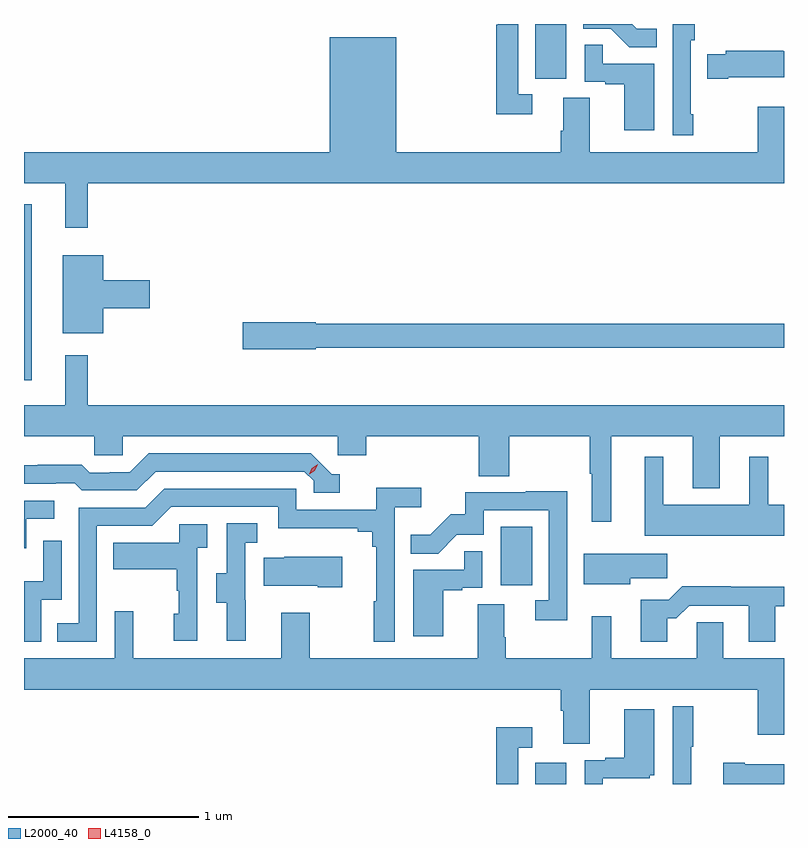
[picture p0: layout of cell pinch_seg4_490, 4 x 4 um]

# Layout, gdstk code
import gdstk
lib = gdstk.Library(unit=1e-6, precision=1e-09)
def R(c, l, rs):  # rectangles x0, y0, x1, y1
    for r in rs: c.add(gdstk.rectangle(r[:2], r[2:], *l))
def P(c, l, *ps):  # polygons
    for p in ps: c.add(gdstk.Polygon(p, *l))
L2000_40 = (2000, 40)
L4158_0 = (4158, 0)

pinch_seg4_490 = lib.new_cell('pinch_seg4_490')
R(pinch_seg4_490, L2000_40, [(912.794,757.695,912.958,757.807), (912.614,758.742,912.778,759.049), (910.104,759.821,910.144,760.747), (912.794,761.406,912.958,761.695)])
P(pinch_seg4_490, L2000_40, [(913.433,761.671),(913.329,761.671),(913.305,761.695),(913.047,761.695),(913.047,761.67),(913.191,761.67),(913.289,761.572),(913.433,761.572)],
  [(912.778,761.325),(912.705,761.325),(912.705,761.695),(912.597,761.695),(912.597,761.692),(912.589,761.692),(912.589,761.22),(912.778,761.22)],
  [(913.627,761.221),(913.614,761.221),(913.614,761.609),(913.634,761.609),(913.634,761.695),(913.518,761.695),(913.518,761.109),(913.627,761.109)],
  [(910.439,760.856),(914.104,760.856),(914.104,761.26),(913.966,761.26),(913.966,761.02),(913.081,761.02),(913.081,761.306),(912.941,761.306),(912.941,761.132),(912.929,761.132),(912.929,761.02),(912.064,761.02),(912.064,761.626),(911.714,761.626),(911.714,761.02),(910.104,761.02),(910.104,760.856),(910.322,760.856),(910.322,760.623),(910.439,760.623)],
  [(913.42,761.487),(913.151,761.487),(913.151,761.585),(913.056,761.585),(913.056,761.391),(913.163,761.391),(913.163,761.379),(913.262,761.379),(913.262,761.136),(913.42,761.136)],
  [(913.81,761.414),(914.104,761.414),(914.104,761.551),(914.099,761.551),(914.099,761.554),(913.797,761.554),(913.797,761.536),(913.699,761.536),(913.699,761.407),(913.81,761.407)],
  [(910.522,760.199),(910.765,760.199),(910.765,760.346),(910.522,760.346),(910.522,760.477),(910.307,760.477),(910.307,760.067),(910.522,760.067)],
  [(911.64,759.99),(914.104,759.99),(914.104,760.118),(911.64,760.118),(911.64,760.124),(911.256,760.124),(911.256,759.982),(911.64,759.982)],
  [(913.195,759.524),(913.625,759.524),(913.625,759.251),(913.765,759.251),(913.765,759.524),(914.104,759.524),(914.104,759.688),(910.439,759.688),(910.439,759.952),(910.322,759.952),(910.322,759.688),(910.104,759.688),(910.104,759.524),(910.473,759.524),(910.473,759.426),(910.623,759.426),(910.623,759.524),(911.754,759.524),(911.754,759.426),(911.906,759.426),(911.906,759.524),(912.497,759.524),(912.497,759.316),(912.657,759.316),(912.657,759.524),(913.081,759.524),(913.081,759.328),(913.091,759.328),(913.091,759.075),(913.195,759.075)],
  [(911.767,759.324),(911.724,759.324),(911.613,759.435),(910.76,759.435),(910.661,759.336),(910.554,759.336),(910.554,759.333),(910.451,759.333),(910.409,759.376),(910.176,759.376),(910.176,759.373),(910.104,759.373),(910.104,759.276),(910.271,759.276),(910.271,759.279),(910.37,759.279),(910.409,759.24),(910.698,759.24),(910.797,759.339),(911.58,759.339),(911.628,759.291),(911.628,759.228),(911.767,759.228)],
  [(914.104,759.166),(914.02,759.166),(914.02,759.418),(913.922,759.418),(913.922,759.166),(913.468,759.166),(913.468,759.418),(913.37,759.418),(913.37,759.002),(914.104,759.002)],
  [(910.488,759.054),(910.779,759.054),(910.878,759.153),(911.442,759.153),(911.442,759.041),(911.861,759.041),(911.861,759.022),(911.938,759.022),(911.938,758.945),(911.957,758.945),(911.957,758.657),(911.946,758.657),(911.946,758.445),(912.054,758.445),(912.054,759.152),(912.196,759.152),(912.196,759.254),(911.957,759.254),(911.957,759.138),(911.538,759.138),(911.538,759.249),(910.841,759.249),(910.742,759.15),(910.392,759.15),(910.392,758.541),(910.279,758.541),(910.279,758.445),(910.488,758.445)],
  [(912.963,759.236),(912.745,759.236),(912.745,759.231),(912.427,759.231),(912.427,759.114),(912.35,759.114),(912.243,759.007),(912.139,759.007),(912.139,758.908),(912.283,758.908),(912.381,759.006),(912.525,759.006),(912.525,759.135),(912.867,759.135),(912.867,758.661),(912.795,758.661),(912.795,758.556),(912.963,758.556)],
  [(910.116,759.09),(910.264,759.09),(910.264,759.186),(910.104,759.186),(910.104,758.937),(910.116,758.937)],
  [(911.27,758.661),(911.268,758.661),(911.268,758.965),(911.332,758.965),(911.332,759.068),(911.172,759.068),(911.172,758.805),(911.117,758.805),(911.117,758.65),(911.171,758.65),(911.171,758.448),(911.27,758.448)],
  [(911.016,758.939),(911.068,758.939),(911.068,759.063),(910.92,759.063),(910.92,758.965),(910.573,758.965),(910.573,758.825),(910.908,758.825),(910.908,758.711),(910.918,758.711),(910.918,758.592),(910.892,758.592),(910.892,758.448),(911.016,758.448)],
  [(910.194,758.664),(910.302,758.664),(910.302,758.974),(910.206,758.974),(910.206,758.762),(910.104,758.762),(910.104,758.445),(910.194,758.445)],
  [(912.31,758.715),(912.41,758.715),(912.41,758.727),(912.516,758.727),(912.516,758.921),(912.421,758.921),(912.421,758.823),(912.152,758.823),(912.152,758.472),(912.31,758.472)],
  [(913.294,758.779),(913.489,758.779),(913.489,758.908),(913.05,758.908),(913.05,758.747),(913.294,758.747)],
  [(911.779,758.89),(911.473,758.89),(911.473,758.887),(911.365,758.887),(911.365,758.738),(911.651,758.738),(911.651,758.731),(911.779,758.731)],
  [(913.489,758.567),(913.538,758.567),(913.605,758.634),(913.919,758.634),(913.919,758.445),(914.059,758.445),(914.059,758.631),(914.104,758.631),(914.104,758.732),(913.823,758.732),(913.823,758.735),(913.568,758.735),(913.498,758.665),(913.349,758.665),(913.349,758.445),(913.489,758.445)],
  [(912.929,758.08),(912.941,758.08),(912.941,757.906),(913.081,757.906),(913.081,758.192),(913.966,758.192),(913.966,757.953),(914.104,757.953),(914.104,758.356),(913.783,758.356),(913.783,758.546),(913.644,758.546),(913.644,758.356),(913.195,758.356),(913.195,758.578),(913.091,758.578),(913.091,758.356),(912.639,758.356),(912.639,758.468),(912.631,758.468),(912.631,758.642),(912.491,758.642),(912.491,758.356),(911.607,758.356),(911.607,758.596),(911.459,758.596),(911.459,758.356),(910.679,758.356),(910.679,758.605),(910.581,758.605),(910.581,758.356),(910.104,758.356),(910.104,758.192),(912.929,758.192)],
  [(913.615,757.891),(913.627,757.891),(913.627,758.104),(913.518,758.104),(913.518,757.695),(913.615,757.695)],
  [(913.151,757.725),(913.398,757.725),(913.398,757.74),(913.42,757.74),(913.42,758.089),(913.262,758.089),(913.262,757.834),(913.163,757.834),(913.163,757.821),(913.056,757.821),(913.056,757.695),(913.151,757.695)],
  [(912.705,757.887),(912.778,757.887),(912.778,757.993),(912.589,757.993),(912.589,757.695),(912.705,757.695)],
  [(914.104,757.798),(913.897,757.798),(913.897,757.806),(913.785,757.806),(913.785,757.695),(914.104,757.695)])
P(pinch_seg4_490, L4158_0, [(911.604,759.325),(911.604,759.325),(911.619,759.358),(911.65,759.378),(911.65,759.378),(911.65,759.378),(911.635,759.345),(911.604,759.325)])

lib.write_gds('pinch_seg4_490.gds')
